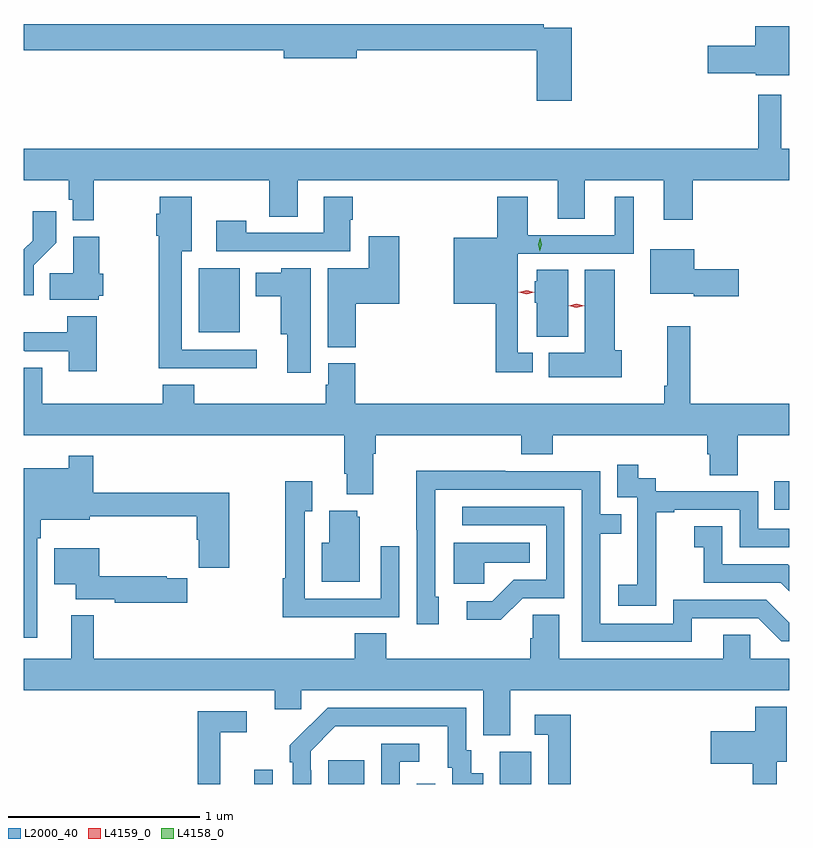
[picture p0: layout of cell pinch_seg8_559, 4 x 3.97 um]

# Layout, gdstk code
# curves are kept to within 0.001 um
import gdstk
lib = gdstk.Library(unit=1e-6, precision=1e-09)
def R(c, l, rs):  # rectangles x0, y0, x1, y1
    for r in rs: c.add(gdstk.rectangle(r[:2], r[2:], *l))
def P(c, l, *ps):  # polygons
    for p in ps: c.add(gdstk.Polygon(p, *l))
L2000_40 = (2000, 40)
L4158_0 = (4158, 0)
L4159_0 = (4159, 0)

pinch_seg8_559 = lib.new_cell('pinch_seg8_559')
R(pinch_seg8_559, L2000_40, [(158.529,1104.023,158.625,1104.097), (158.915,1104.023,159.103,1104.148), (159.378,1104.023,159.474,1104.025), (159.812,1104.023,159.976,1104.192), (161.245,1105.455,161.324,1105.603), (158.24,1106.381,158.452,1106.716)])
P(pinch_seg8_559, L2000_40, [(160.187,1107.972),(160.04,1107.972),(160.04,1107.992),(157.324,1107.992),(157.324,1107.856),(158.684,1107.856),(158.684,1107.814),(159.064,1107.814),(159.064,1107.856),(160.004,1107.856),(160.004,1107.591),(160.187,1107.591)],
  [(161.324,1107.979),(161.144,1107.979),(161.144,1107.878),(160.896,1107.878),(160.896,1107.736),(161.148,1107.736),(161.148,1107.725),(161.324,1107.725)],
  [(157.69,1107.176),(158.608,1107.176),(158.608,1106.986),(158.755,1106.986),(158.755,1107.176),(160.115,1107.176),(160.115,1106.974),(160.255,1106.974),(160.255,1107.176),(160.667,1107.176),(160.667,1106.97),(160.82,1106.97),(160.82,1107.176),(161.324,1107.176),(161.324,1107.34),(161.281,1107.34),(161.281,1107.622),(161.16,1107.622),(161.16,1107.34),(157.324,1107.34),(157.324,1107.176),(157.561,1107.176),(157.561,1107.075),(157.581,1107.075),(157.581,1106.966),(157.69,1106.966)],
  [(159.983,1106.276),(159.906,1106.276),(159.906,1106.793),(160.51,1106.793),(160.51,1107.091),(160.412,1107.091),(160.412,1106.889),(159.958,1106.889),(159.958,1107.091),(159.797,1107.091),(159.797,1106.875),(159.572,1106.875),(159.572,1106.531),(159.79,1106.531),(159.79,1106.174),(159.983,1106.174)],
  [(158.542,1106.292),(158.149,1106.292),(158.149,1106.804),(158.203,1106.804),(158.203,1107.091),(158.036,1107.091),(158.036,1107),(158.018,1107),(158.018,1106.886),(158.029,1106.886),(158.029,1106.195),(158.542,1106.195)],
  [(159.031,1106.971),(159.044,1106.971),(159.044,1107.091),(158.891,1107.091),(158.891,1106.901),(158.487,1106.901),(158.487,1106.965),(158.331,1106.965),(158.331,1106.805),(159.031,1106.805)],
  [(157.377,1106.731),(157.496,1106.85),(157.496,1107.013),(157.371,1107.013),(157.371,1106.861),(157.324,1106.815),(157.324,1106.576),(157.377,1106.576)],
  [(159.059,1106.531),(159.286,1106.531),(159.286,1106.884),(159.128,1106.884),(159.128,1106.716),(158.912,1106.716),(158.912,1106.305),(159.059,1106.305)],
  [(157.716,1106.574),(157.74,1106.574),(157.74,1106.688),(157.72,1106.688),(157.72,1106.881),(157.583,1106.881),(157.583,1106.69),(157.462,1106.69),(157.462,1106.552),(157.716,1106.552)],
  [(161.059,1106.712),(160.828,1106.712),(160.828,1106.815),(160.598,1106.815),(160.598,1106.582),(160.824,1106.582),(160.824,1106.57),(161.059,1106.57)],
  [(158.824,1106.716),(158.67,1106.716),(158.67,1106.692),(158.537,1106.692),(158.537,1106.57),(158.666,1106.57),(158.666,1106.372),(158.702,1106.372),(158.702,1106.172),(158.824,1106.172)],
  [(160.168,1106.708),(160.004,1106.708),(160.004,1106.649),(159.995,1106.649),(159.995,1106.535),(160.004,1106.535),(160.004,1106.36),(160.168,1106.36)],
  [(160.447,1106.288),(160.411,1106.288),(160.411,1106.708),(160.256,1106.708),(160.256,1106.275),(160.068,1106.275),(160.068,1106.147),(160.447,1106.147)],
  [(157.707,1106.467),(157.552,1106.467),(157.552,1106.383),(157.324,1106.383),(157.324,1106.286),(157.33,1106.286),(157.33,1106.283),(157.559,1106.283),(157.559,1106.178),(157.707,1106.178)],
  [(159.151,1105.748),(159.164,1105.748),(159.164,1105.844),(159.923,1105.844),(159.923,1105.745),(160.088,1105.745),(160.088,1105.844),(160.895,1105.844),(160.895,1105.746),(160.907,1105.746),(160.907,1105.636),(161.055,1105.636),(161.055,1105.844),(161.324,1105.844),(161.324,1106.008),(160.805,1106.008),(160.805,1106.413),(160.687,1106.413),(160.687,1106.104),(160.669,1106.104),(160.669,1106.008),(159.056,1106.008),(159.056,1106.22),(158.915,1106.22),(158.915,1106.109),(158.903,1106.109),(158.903,1106.008),(158.216,1106.008),(158.216,1106.107),(158.051,1106.107),(158.051,1106.008),(157.423,1106.008),(157.423,1106.198),(157.324,1106.198),(157.324,1105.844),(158.999,1105.844),(158.999,1105.642),(159.011,1105.642),(159.011,1105.535),(159.151,1105.535)],
  [(157.395,1105.307),(157.415,1105.307),(157.415,1105.403),(157.669,1105.403),(157.669,1105.422),(158.228,1105.422),(158.228,1105.299),(158.239,1105.299),(158.239,1105.153),(158.398,1105.153),(158.398,1105.543),(157.688,1105.543),(157.688,1105.738),(157.56,1105.738),(157.56,1105.672),(157.324,1105.672),(157.324,1104.786),(157.395,1104.786)],
  [(160.629,1105.159),(160.628,1105.159),(160.628,1105.443),(160.723,1105.443),(160.723,1105.455),(161.064,1105.455),(161.064,1105.26),(161.324,1105.26),(161.324,1105.356),(161.16,1105.356),(161.16,1105.551),(160.626,1105.551),(160.626,1105.62),(160.534,1105.62),(160.534,1105.69),(160.425,1105.69),(160.425,1105.521),(160.53,1105.521),(160.53,1105.292),(160.529,1105.292),(160.529,1105.063),(160.431,1105.063),(160.431,1104.953),(160.629,1104.953)],
  [(160.813,1104.888),(161.16,1104.888),(161.28,1104.768),(161.324,1104.768),(161.324,1104.864),(161.322,1104.864),(161.202,1104.984),(160.716,1104.984),(160.716,1104.861),(160.335,1104.861),(160.335,1105.33),(160.445,1105.33),(160.445,1105.431),(160.335,1105.431),(160.335,1105.656),(159.839,1105.656),(159.839,1105.658),(159.376,1105.658),(159.376,1105.351),(159.378,1105.351),(159.378,1104.858),(159.493,1104.858),(159.493,1105.002),(159.474,1105.002),(159.475,1105.56),(160.239,1105.56),(160.239,1104.765),(160.813,1104.765)],
  [(158.969,1104.894),(159.285,1104.894),(159.285,1105.264),(159.189,1105.264),(159.189,1104.99),(158.793,1104.99),(158.793,1105.447),(158.833,1105.447),(158.833,1105.603),(158.692,1105.603),(158.692,1105.097),(158.677,1105.097),(158.677,1104.893),(158.969,1104.893)],
  [(159.93,1104.993),(160.149,1104.993),(160.149,1105.47),(159.615,1105.47),(159.615,1105.374),(160.053,1105.374),(160.053,1105.089),(159.884,1105.089),(159.773,1104.978),(159.639,1104.978),(159.639,1104.881),(159.817,1104.881)],
  [(159.079,1105.419),(159.068,1105.419),(159.068,1105.45),(158.921,1105.45),(158.921,1105.282),(158.882,1105.282),(158.882,1105.079),(159.079,1105.079)],
  [(161.324,1105.162),(161.316,1105.17),(160.974,1105.17),(160.974,1105.369),(160.827,1105.369),(160.827,1105.259),(160.876,1105.259),(160.876,1105.074),(161.279,1105.074),(161.324,1105.029)],
  [(159.729,1105.178),(159.968,1105.178),(159.968,1105.282),(159.572,1105.282),(159.572,1105.07),(159.729,1105.07)],
  [(158.18,1105.098),(158.072,1105.098),(158.072,1105.107),(157.72,1105.107),(157.72,1105.255),(157.484,1105.255),(157.484,1105.067),(157.598,1105.067),(157.598,1104.989),(157.8,1104.989),(157.8,1104.97),(158.18,1104.97)],
  [(159.865,1104.512),(161.324,1104.512),(161.324,1104.676),(161.118,1104.676),(161.118,1104.803),(160.979,1104.803),(160.979,1104.676),(160.123,1104.676),(160.123,1104.908),(159.984,1104.908),(159.984,1104.785),(159.971,1104.785),(159.971,1104.676),(159.218,1104.676),(159.218,1104.809),(159.053,1104.809),(159.053,1104.676),(157.691,1104.676),(157.691,1104.904),(157.574,1104.904),(157.574,1104.676),(157.324,1104.676),(157.324,1104.512),(158.636,1104.512),(158.636,1104.414),(158.775,1104.414),(158.775,1104.512),(159.725,1104.512),(159.725,1104.277),(159.865,1104.277)],
  [(161.257,1104.14),(161.311,1104.14),(161.311,1104.427),(161.144,1104.427),(161.144,1104.298),(160.914,1104.298),(160.914,1104.128),(161.132,1104.128),(161.132,1104.023),(161.257,1104.023)],
  [(158.826,1104.095),(158.823,1104.095),(158.823,1104.195),(158.952,1104.324),(159.539,1104.324),(159.539,1104.108),(159.563,1104.108),(159.563,1104.023),(159.724,1104.023),(159.724,1104.079),(159.661,1104.079),(159.661,1104.198),(159.636,1104.198),(159.636,1104.42),(158.912,1104.42),(158.715,1104.225),(158.715,1104.137),(158.73,1104.137),(158.73,1104.023),(158.826,1104.023)],
  [(158.351,1104.294),(158.491,1104.294),(158.491,1104.402),(158.233,1104.402),(158.233,1104.023),(158.351,1104.023)],
  [(160.181,1104.385),(159.993,1104.385),(159.993,1104.279),(160.065,1104.279),(160.065,1104.023),(160.181,1104.023)],
  [(159.288,1104.138),(159.391,1104.138),(159.391,1104.234),(159.192,1104.234),(159.192,1104.023),(159.288,1104.023)])
P(pinch_seg8_559, L4158_0, [(160.019,1106.805),(160.011,1106.841),(160.022,1106.876),(160.022,1106.876),(160.023,1106.876),(160.031,1106.84),(160.02,1106.805),(160.02,1106.805)])
P(pinch_seg8_559, L4159_0, [(160.211,1106.51),(160.171,1106.52),(160.171,1106.52),(160.171,1106.52),(160.211,1106.53),(160.252,1106.52),(160.252,1106.52),(160.252,1106.52)],
  [(159.951,1106.581),(159.911,1106.592),(159.91,1106.592),(159.911,1106.592),(159.952,1106.601),(159.992,1106.591),(159.992,1106.59),(159.992,1106.59)])

lib.write_gds('pinch_seg8_559.gds')
